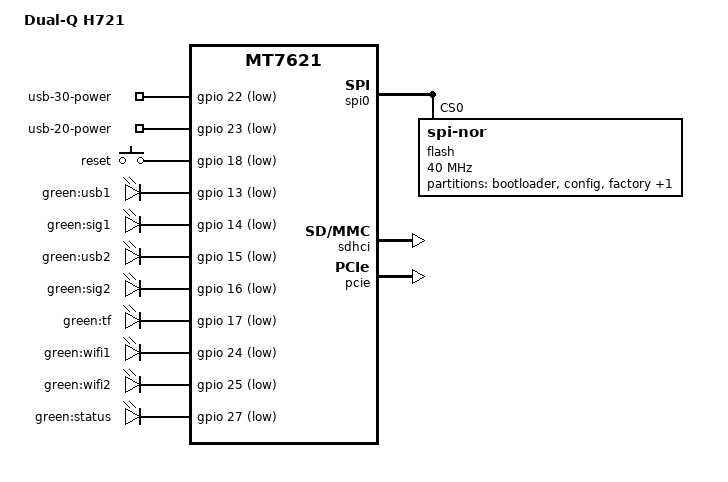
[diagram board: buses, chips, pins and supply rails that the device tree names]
// SPDX-License-Identifier: GPL-2.0-or-later OR MIT

#include "mt7621.dtsi"

#include <dt-bindings/gpio/gpio.h>
#include <dt-bindings/input/input.h>

/ {
	compatible = "dual-q,h721", "mediatek,mt7621-soc";
	model = "Dual-Q H721";

	aliases {
		led-boot = &led_status;
		led-failsafe = &led_status;
		led-running = &led_status;
		led-upgrade = &led_status;
	};

	chosen {
		bootargs = "console=ttyS0,115200";
	};

	gpio-export {
		compatible = "gpio-export";
		#size-cells = <0>;

		usb-30-power {
			gpio-export,name = "usb-30-power";
			gpio-export,output = <0>;
			gpios = <&gpio 22 GPIO_ACTIVE_LOW>;
		};

		usb-20-power {
			gpio-export,name = "usb-20-power";
			gpio-export,output = <0>;
			gpios = <&gpio 23 GPIO_ACTIVE_LOW>;
		};
	};

	keys {
		compatible = "gpio-keys";

		reset {
			label = "reset";
			gpios = <&gpio 18 GPIO_ACTIVE_LOW>;
			linux,code = <KEY_RESTART>;
		};
	};

	leds {
		compatible = "gpio-leds";

		usb1 {
			label = "green:usb1";
			gpios = <&gpio 13 GPIO_ACTIVE_LOW>;
		};

		sig1 {
			label = "green:sig1";
			gpios = <&gpio 14 GPIO_ACTIVE_LOW>;
		};

		usb2 {
			label = "green:usb2";
			gpios = <&gpio 15 GPIO_ACTIVE_LOW>;
		};

		sig2 {
			label = "green:sig2";
			gpios = <&gpio 16 GPIO_ACTIVE_LOW>;
		};

		tf {
			label = "green:tf";
			gpios = <&gpio 17 GPIO_ACTIVE_LOW>;
		};

		wifi1 {
			label = "green:wifi1";
			gpios = <&gpio 24 GPIO_ACTIVE_LOW>;
		};

		wifi2 {
			label = "green:wifi2";
			gpios = <&gpio 25 GPIO_ACTIVE_LOW>;
		};

		led_status: status {
			label = "green:status";
			gpios = <&gpio 27 GPIO_ACTIVE_LOW>;
		};
	};
};

&spi0 {
	status = "okay";

	flash@0 {
		compatible = "jedec,spi-nor";
		reg = <0>;
		spi-max-frequency = <40000000>;

		partitions {
			compatible = "fixed-partitions";
			#address-cells = <1>;
			#size-cells = <1>;

			partition@0 {
				label = "bootloader";
				reg = <0x0 0x30000>;
				read-only;
			};

			partition@30000 {
				label = "config";
				reg = <0x30000 0x10000>;
				read-only;
			};

			partition@40000 {
				label = "factory";
				reg = <0x40000 0x10000>;
				read-only;

				compatible = "nvmem-cells";
				#address-cells = <1>;
				#size-cells = <1>;

				macaddr_factory_e000: macaddr@e000 {
					reg = <0xe000 0x6>;
				};
			};

			partition@50000 {
				compatible = "denx,uimage";
				label = "firmware";
				reg = <0x50000 0xfb0000>;
			};
		};
	};
};

&sdhci {
	status = "okay";
};

&pcie {
	status = "okay";
};

&switch0 {
	ports {
		port@0 {
			status = "okay";
			label = "lan1";
		};

		port@1 {
			status = "okay";
			label = "lan2";
		};

		port@2 {
			status = "okay";
			label = "lan3";
		};

		port@3 {
			status = "okay";
			label = "lan4";
		};

		port@4 {
			status = "okay";
			label = "wan";

			nvmem-cells = <&macaddr_factory_e000>;
			nvmem-cell-names = "mac-address";
			mac-address-increment = <1>;
		};
	};
};

&ethernet {
	pinctrl-0 = <&mdio_pins>, <&rgmii1_pins>;
};

&gmac0 {
	nvmem-cells = <&macaddr_factory_e000>;
	nvmem-cell-names = "mac-address";
};

&state_default {
	gpio {
		groups = "jtag", "wdt", "rgmii2";
		function = "gpio";
	};
};
